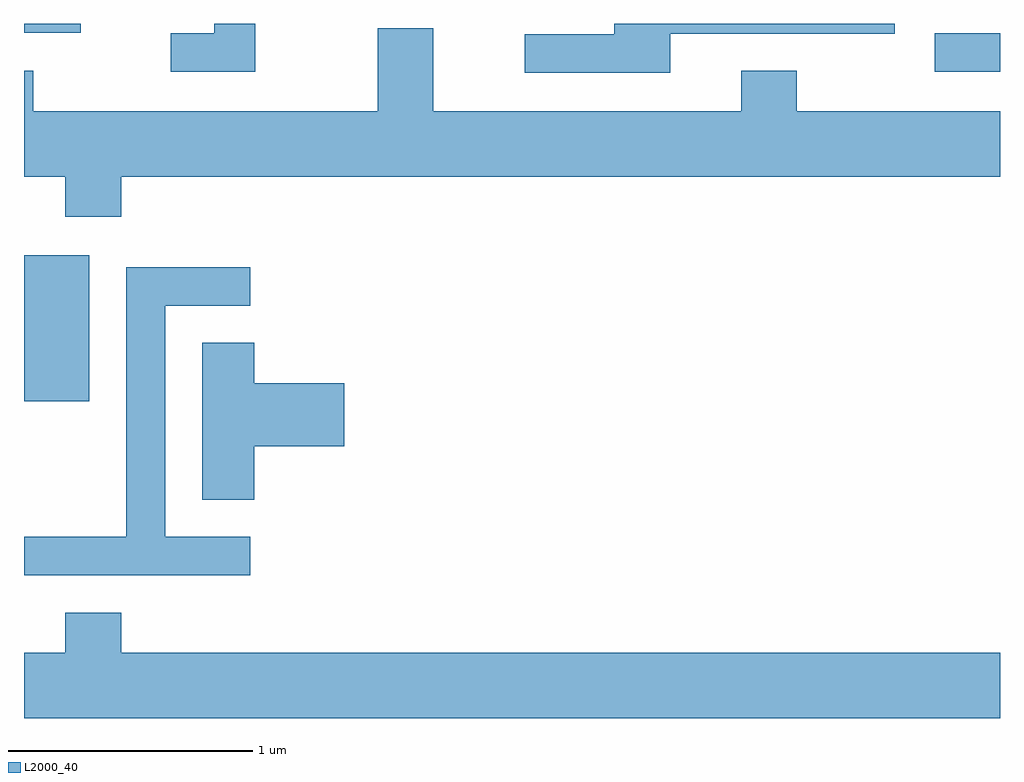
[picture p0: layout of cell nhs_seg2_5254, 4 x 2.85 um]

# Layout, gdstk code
import gdstk
lib = gdstk.Library(unit=1e-6, precision=1e-09)
def R(c, l, rs):  # rectangles x0, y0, x1, y1
    for r in rs: c.add(gdstk.rectangle(r[:2], r[2:], *l))
def P(c, l, *ps):  # polygons
    for p in ps: c.add(gdstk.Polygon(p, *l))
L2000_40 = (2000, 40)

nhs_seg2_5254 = lib.new_cell('nhs_seg2_5254')
R(nhs_seg2_5254, L2000_40, [(339.611,1076.256,339.879,1076.854), (343.343,1077.606,343.611,1077.764), (339.611,1077.766,339.844,1077.802)])
P(nhs_seg2_5254, L2000_40, [(342.259,1077.761),(343.179,1077.761),(343.179,1077.802),(342.031,1077.802),(342.031,1077.759),(341.663,1077.759),(341.663,1077.601),(342.259,1077.601)],
  [(340.559,1077.802),(340.391,1077.802),(340.391,1077.764),(340.213,1077.764),(340.213,1077.606),(340.559,1077.606)],
  [(340.009,1077.176),(343.611,1077.176),(343.611,1077.444),(342.779,1077.444),(342.779,1077.609),(342.551,1077.609),(342.551,1077.444),(341.289,1077.444),(341.289,1077.784),(341.061,1077.784),(341.061,1077.444),(339.649,1077.444),(339.649,1077.609),(339.611,1077.609),(339.611,1077.176),(339.781,1077.176),(339.781,1077.011),(340.009,1077.011)],
  [(340.538,1075.699),(340.189,1075.699),(340.189,1076.646),(340.538,1076.646),(340.538,1076.804),(340.031,1076.804),(340.031,1075.699),(339.611,1075.699),(339.611,1075.541),(340.538,1075.541)],
  [(340.554,1076.071),(340.924,1076.071),(340.924,1076.329),(340.554,1076.329),(340.554,1076.494),(340.341,1076.494),(340.341,1075.851),(340.554,1075.851)],
  [(343.611,1075.224),(340.009,1075.224),(340.009,1075.389),(339.781,1075.389),(339.781,1075.224),(339.611,1075.224),(339.611,1074.956),(343.611,1074.956)])

lib.write_gds('nhs_seg2_5254.gds')
